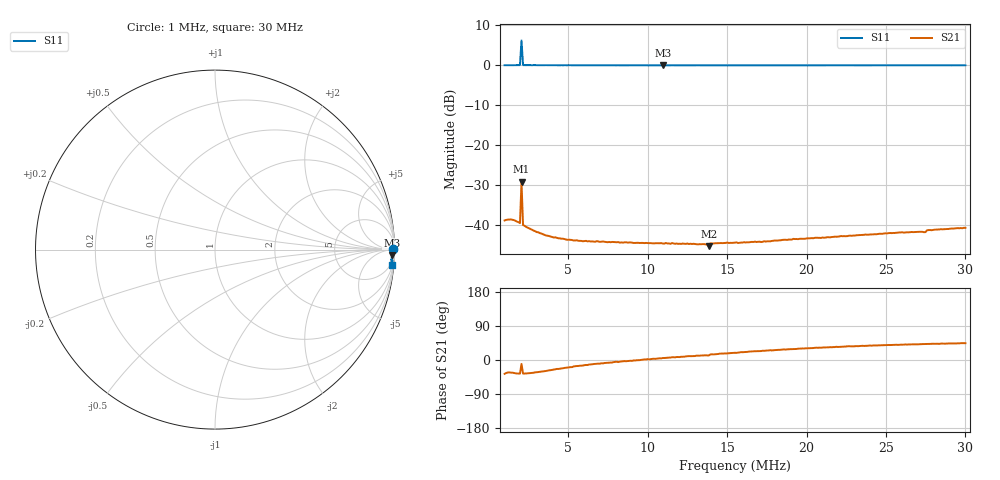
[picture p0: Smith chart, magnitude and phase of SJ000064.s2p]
!File created by NanoVNA-F V2
# Hz S RI R 50
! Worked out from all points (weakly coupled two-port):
!   301 points, 1 MHz to 30 MHz, reference 50 ohm
!   highest |S21| = -29.13 dB at 2.063 MHz (marker M1); lowest = -45.2 dB at 13.86 MHz (marker M2)
!   lowest |S11| = -0.1 dB at 10.96 MHz (marker M3), VSWR 135.10, Z = 1.14e+03 - j2.53e+03 ohm
!   |S11| at or under -10 dB: nowhere
!   S12 and S22 are empty: the file has one direction only
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1000000  0.9918 0.00249  0.00929 -0.00686  0 0  0 0
1386664  0.991 0.0011  0.00993 -0.00653  0 0  0 0
1966660  0.9935 -0.00223  0.00865 -0.00627  0 0  0 0
2063326  -1.484 1.363  0.0344 -0.00629  0 0  0 0
2159992  0.9931 -0.00369  0.00821 -0.00593  0 0  0 0
3029986  0.992 -0.0106  0.00698 -0.00442  0 0  0 0
3609982  0.9928 -0.0112  0.00656 -0.00363  0 0  0 0
4963306  0.9907 -0.0156  0.00623 -0.00226  0 0  0 0
5833300  0.9901 -0.0194  0.0062 -0.00167  0 0  0 0
1.06666e7  0.9866 -0.0324  0.006 0.000405  0 0  0 0
1.09566e7  0.9848 -0.0323  0.00594 0.000543  0 0  0 0
1.356658e7  0.9867 -0.0395  0.00572 0.00124  0 0  0 0
1.385658e7  0.9861 -0.0391  0.0054 0.00116  0 0  0 0
1.395324e7  0.9861 -0.0394  0.00579 0.00152  0 0  0 0
1.54999e7  0.9864 -0.0448  0.00578 0.00199  0 0  0 0
1.714322e7  0.9854 -0.0478  0.0057 0.00249  0 0  0 0
2.03332e7  0.9845 -0.0556  0.00593 0.00364  0 0  0 0
2.51665e7  0.9867 -0.0698  0.00618 0.00512  0 0  0 0
2.748648e7  0.985 -0.0779  0.00608 0.00559  0 0  0 0
2.758315e7  0.9854 -0.0776  0.00644 0.00587  0 0  0 0
2.767982e7  0.986 -0.0781  0.00647 0.0059  0 0  0 0
2.99998e7  0.9853 -0.084  0.00667 0.00653  0 0  0 0
